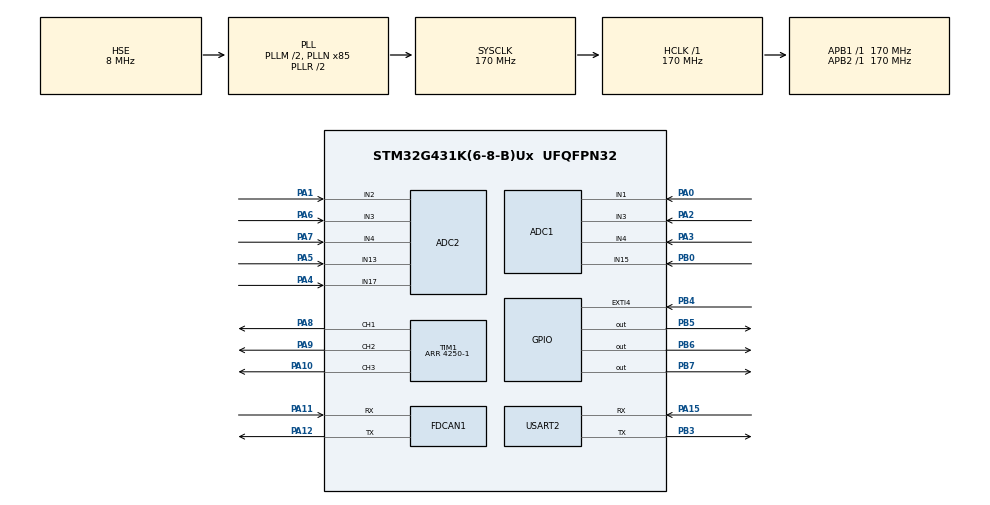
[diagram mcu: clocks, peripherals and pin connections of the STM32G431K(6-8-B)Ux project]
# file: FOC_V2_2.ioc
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ADC1.Channel-0\#ChannelRegularConversion=ADC_CHANNEL_1
ADC1.Channel-1\#ChannelRegularConversion=ADC_CHANNEL_3
ADC1.Channel-2\#ChannelRegularConversion=ADC_CHANNEL_4
ADC1.Channel-3\#ChannelRegularConversion=ADC_CHANNEL_15
ADC1.NbrOfConversion=4
ADC1.NbrOfConversionFlag=1
ADC1.OffsetNumber-0\#ChannelRegularConversion=ADC_OFFSET_NONE
ADC1.OffsetNumber-1\#ChannelRegularConversion=ADC_OFFSET_NONE
ADC1.OffsetNumber-2\#ChannelRegularConversion=ADC_OFFSET_NONE
ADC1.OffsetNumber-3\#ChannelRegularConversion=ADC_OFFSET_NONE
ADC1.Rank-0\#ChannelRegularConversion=1
ADC1.Rank-1\#ChannelRegularConversion=2
ADC1.Rank-2\#ChannelRegularConversion=3
ADC1.Rank-3\#ChannelRegularConversion=4
ADC1.SamplingTime-0\#ChannelRegularConversion=ADC_SAMPLETIME_2CYCLES_5
ADC1.SamplingTime-1\#ChannelRegularConversion=ADC_SAMPLETIME_2CYCLES_5
ADC1.SamplingTime-2\#ChannelRegularConversion=ADC_SAMPLETIME_2CYCLES_5
ADC1.SamplingTime-3\#ChannelRegularConversion=ADC_SAMPLETIME_2CYCLES_5
ADC1.master=1
ADC2.Channel-0\#ChannelRegularConversion=ADC_CHANNEL_2
ADC2.Channel-1\#ChannelRegularConversion=ADC_CHANNEL_3
ADC2.Channel-2\#ChannelRegularConversion=ADC_CHANNEL_4
ADC2.Channel-3\#ChannelRegularConversion=ADC_CHANNEL_13
ADC2.Channel-4\#ChannelRegularConversion=ADC_CHANNEL_17
ADC2.NbrOfConversion=5
ADC2.NbrOfConversionFlag=1
ADC2.OffsetNumber-0\#ChannelRegularConversion=ADC_OFFSET_NONE
ADC2.OffsetNumber-1\#ChannelRegularConversion=ADC_OFFSET_NONE
ADC2.OffsetNumber-2\#ChannelRegularConversion=ADC_OFFSET_NONE
ADC2.OffsetNumber-3\#ChannelRegularConversion=ADC_OFFSET_NONE
ADC2.OffsetNumber-4\#ChannelRegularConversion=ADC_OFFSET_NONE
ADC2.Rank-0\#ChannelRegularConversion=1
ADC2.Rank-1\#ChannelRegularConversion=2
ADC2.Rank-2\#ChannelRegularConversion=3
ADC2.Rank-3\#ChannelRegularConversion=4
ADC2.Rank-4\#ChannelRegularConversion=5
ADC2.SamplingTime-0\#ChannelRegularConversion=ADC_SAMPLETIME_2CYCLES_5
ADC2.SamplingTime-1\#ChannelRegularConversion=ADC_SAMPLETIME_2CYCLES_5
ADC2.SamplingTime-2\#ChannelRegularConversion=ADC_SAMPLETIME_2CYCLES_5
ADC2.SamplingTime-3\#ChannelRegularConversion=ADC_SAMPLETIME_2CYCLES_5
ADC2.SamplingTime-4\#ChannelRegularConversion=ADC_SAMPLETIME_2CYCLES_5
Dma.ADC1.0.Direction=DMA_PERIPH_TO_MEMORY
Dma.ADC1.0.EventEnable=DISABLE
Dma.ADC1.0.Instance=DMA1_Channel1
Dma.ADC1.0.MemDataAlignment=DMA_MDATAALIGN_HALFWORD
Dma.ADC1.0.MemInc=DMA_MINC_ENABLE
Dma.ADC1.0.Mode=DMA_NORMAL
Dma.ADC1.0.PeriphDataAlignment=DMA_PDATAALIGN_HALFWORD
Dma.ADC1.0.PeriphInc=DMA_PINC_DISABLE
Dma.ADC1.0.Polarity=HAL_DMAMUX_REQ_GEN_RISING
Dma.ADC1.0.Priority=DMA_PRIORITY_LOW
Dma.ADC1.0.RequestNumber=1
Dma.ADC1.0.SignalID=NONE
Dma.ADC1.0.SyncEnable=DISABLE
Dma.ADC1.0.SyncPolarity=HAL_DMAMUX_SYNC_NO_EVENT
Dma.ADC1.0.SyncRequestNumber=1
Dma.ADC1.0.SyncSignalID=NONE
Dma.ADC2.1.Direction=DMA_PERIPH_TO_MEMORY
Dma.ADC2.1.EventEnable=DISABLE
Dma.ADC2.1.Instance=DMA1_Channel2
Dma.ADC2.1.MemDataAlignment=DMA_MDATAALIGN_HALFWORD
Dma.ADC2.1.MemInc=DMA_MINC_ENABLE
Dma.ADC2.1.Mode=DMA_NORMAL
Dma.ADC2.1.PeriphDataAlignment=DMA_PDATAALIGN_HALFWORD
Dma.ADC2.1.PeriphInc=DMA_PINC_DISABLE
Dma.ADC2.1.Polarity=HAL_DMAMUX_REQ_GEN_RISING
Dma.ADC2.1.Priority=DMA_PRIORITY_LOW
Dma.ADC2.1.RequestNumber=1
Dma.ADC2.1.SignalID=NONE
Dma.ADC2.1.SyncEnable=DISABLE
Dma.ADC2.1.SyncPolarity=HAL_DMAMUX_SYNC_NO_EVENT
Dma.ADC2.1.SyncRequestNumber=1
Dma.ADC2.1.SyncSignalID=NONE
Dma.Request0=ADC1
Dma.Request1=ADC2
Dma.Request2=USART2_RX
Dma.USART2_RX.2.Direction=DMA_PERIPH_TO_MEMORY
Dma.USART2_RX.2.EventEnable=DISABLE
Dma.USART2_RX.2.Instance=DMA1_Channel3
Dma.USART2_RX.2.MemDataAlignment=DMA_MDATAALIGN_BYTE
Dma.USART2_RX.2.MemInc=DMA_MINC_ENABLE
Dma.USART2_RX.2.Mode=DMA_NORMAL
Dma.USART2_RX.2.PeriphDataAlignment=DMA_PDATAALIGN_BYTE
Dma.USART2_RX.2.PeriphInc=DMA_PINC_DISABLE
Dma.USART2_RX.2.Polarity=HAL_DMAMUX_REQ_GEN_RISING
Dma.USART2_RX.2.Priority=DMA_PRIORITY_LOW
Dma.USART2_RX.2.RequestNumber=1
Dma.USART2_RX.2.SignalID=NONE
Dma.USART2_RX.2.SyncEnable=DISABLE
Dma.USART2_RX.2.SyncPolarity=HAL_DMAMUX_SYNC_NO_EVENT
Dma.USART2_RX.2.SyncRequestNumber=1
Dma.USART2_RX.2.SyncSignalID=NONE
FDCAN1.AutoRetransmission=ENABLE
FDCAN1.CalculateBaudRateNominal=1000000
FDCAN1.CalculateTimeBitNominal=1000
FDCAN1.CalculateTimeQuantumNominal=100.0
FDCAN1.DataPrescaler=1
FDCAN1.DataSyncJumpWidth=4
FDCAN1.DataTimeSeg1=5
FDCAN1.DataTimeSeg2=4
FDCAN1.FrameFormat=FDCAN_FRAME_FD_NO_BRS
FDCAN1.NominalPrescaler=17
FDCAN1.NominalSyncJumpWidth=4
FDCAN1.NominalTimeSeg1=5
FDCAN1.NominalTimeSeg2=4
FDCAN1.StdFiltersNbr=2
FDCAN1.TransmitPause=ENABLE
Mcu.Family=STM32G4
Mcu.Name=STM32G431K(6-8-B)Ux
Mcu.Package=UFQFPN32
NVIC.DMA1_Channel1_IRQn=true\:0\:0\:false\:false\:true\:false\:true\:true
NVIC.DMA1_Channel2_IRQn=true\:0\:0\:false\:false\:true\:false\:true\:true
NVIC.DMA1_Channel3_IRQn=true\:0\:0\:false\:false\:true\:false\:true\:true
NVIC.PriorityGroup=NVIC_PRIORITYGROUP_4
NVIC.TIM1_UP_TIM16_IRQn=true\:0\:0\:false\:false\:true\:true\:true\:true
NVIC.TIM2_IRQn=true\:0\:0\:false\:false\:true\:true\:true\:true
NVIC.TIM6_DAC_IRQn=true\:0\:0\:false\:false\:true\:true\:true\:true
NVIC.TIM7_IRQn=true\:0\:0\:false\:false\:true\:true\:true\:true
NVIC.TIM8_UP_IRQn=true\:15\:0\:false\:false\:true\:false\:true\:true
NVIC.TimeBase=TIM8_UP_IRQn
NVIC.TimeBaseIP=TIM8
NVIC.USART2_IRQn=true\:0\:0\:false\:false\:true\:true\:true\:true
PA0.Mode=IN1-Single-Ended
PA0.Signal=ADC1_IN1
PA1.Mode=IN2-Single-Ended
PA1.Signal=ADC2_IN2
PA10.Signal=S_TIM1_CH3
PA11.Mode=FDCAN_Activate
PA11.Signal=FDCAN1_RX
PA12.Mode=FDCAN_Activate
PA12.Signal=FDCAN1_TX
PA13.Mode=Serial_Wire
PA13.Signal=SYS_JTMS-SWDIO
PA14.Mode=Serial_Wire
PA14.Signal=SYS_JTCK-SWCLK
PA15.Mode=Asynchronous
PA15.Signal=USART2_RX
PA2.Mode=IN3-Single-Ended
PA2.Signal=ADC1_IN3
PA3.Mode=IN4-Single-Ended
PA3.Signal=ADC1_IN4
PA4.Mode=IN17-Single-Ended
PA4.Signal=ADC2_IN17
PA5.Mode=IN13-Single-Ended
PA5.Signal=ADC2_IN13
PA6.Mode=IN3-Single-Ended
PA6.Signal=ADC2_IN3
PA7.Mode=IN4-Single-Ended
PA7.Signal=ADC2_IN4
PA8.Signal=S_TIM1_CH1
PA9.Signal=S_TIM1_CH2
PB0.Mode=IN15-Single-Ended
PB0.Signal=ADC1_IN15
PB3.Mode=Asynchronous
PB3.Signal=USART2_TX
PB4.Signal=GPXTI4
PB5.Signal=GPIO_Output
PB6.Signal=GPIO_Output
PB7.Signal=GPIO_Output
PF0-OSC_IN.Mode=HSE-External-Oscillator
PF0-OSC_IN.Signal=RCC_OSC_IN
PF1-OSC_OUT.Mode=HSE-External-Oscillator
PF1-OSC_OUT.Signal=RCC_OSC_OUT
ProjectManager.HeapSize=0x200
ProjectManager.StackSize=0x400
ProjectManager.TargetToolchain=MDK-ARM V5.32
RCC.ADC12Freq_Value=170000000
RCC.AHBFreq_Value=170000000
RCC.APB1Freq_Value=170000000
RCC.APB1TimFreq_Value=170000000
RCC.APB2Freq_Value=170000000
RCC.APB2TimFreq_Value=170000000
RCC.CortexFreq_Value=170000000
RCC.EXTERNAL_CLOCK_VALUE=12288000
RCC.HCLKFreq_Value=170000000
RCC.HSE_VALUE=8000000
RCC.HSI48_VALUE=48000000
RCC.HSI_VALUE=16000000
RCC.LSE_VALUE=32768
RCC.PLLM=RCC_PLLM_DIV2
RCC.PLLN=85
RCC.PLLSourceVirtual=RCC_PLLSOURCE_HSE
RCC.SYSCLKFreq_VALUE=170000000
RCC.SYSCLKSource=RCC_SYSCLKSOURCE_PLLCLK
RCC.USBFreq_Value=170000000
RCC.VCOOutputFreq_Value=340000000
SH.S_TIM1_CH1.0=TIM1_CH1,PWM Generation1 CH1
SH.S_TIM1_CH2.0=TIM1_CH2,PWM Generation2 CH2
SH.S_TIM1_CH3.0=TIM1_CH3,PWM Generation3 CH3
TIM1.Channel-PWM\ Generation1\ CH1=TIM_CHANNEL_1
TIM1.Channel-PWM\ Generation2\ CH2=TIM_CHANNEL_2
TIM1.Channel-PWM\ Generation3\ CH3=TIM_CHANNEL_3
TIM1.CounterMode=TIM_COUNTERMODE_CENTERALIGNED1
TIM1.OCFastMode_PWM-PWM\ Generation1\ CH1=TIM_OCFAST_ENABLE
TIM1.OCFastMode_PWM-PWM\ Generation2\ CH2=TIM_OCFAST_ENABLE
TIM1.OCFastMode_PWM-PWM\ Generation3\ CH3=TIM_OCFAST_ENABLE
TIM1.PeriodNoDither=4250-1
TIM2.PeriodNoDither=200-1
TIM2.Prescaler=170-1
TIM6.PeriodNoDither=50-1
TIM6.Prescaler=170-1
TIM7.PeriodNoDither=1000-1
TIM7.Prescaler=170-1
USART2.VirtualMode-Asynchronous=VM_ASYNC
VP_SYS_VS_DBSignals.Mode=DisableDeadBatterySignals
VP_SYS_VS_tim8.Mode=TIM8
VP_TIM1_VS_ClockSourceINT.Mode=Internal
VP_TIM2_VS_ClockSourceINT.Mode=Internal
VP_TIM6_VS_ClockSourceINT.Mode=Enable_Timer
VP_TIM7_VS_ClockSourceINT.Mode=Enable_Timer
board=custom

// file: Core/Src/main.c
/* USER CODE BEGIN Header */
/**
  ******************************************************************************
  * @file           : main.c
  * @brief          : Main program body
  ******************************************************************************
  * @attention
  *
  * Copyright (c) 2023 STMicroelectronics.
  * All rights reserved.
  *
  * This software is licensed under terms that can be found in the LICENSE file
  * in the root directory of this software component.
  * If no LICENSE file comes with this software, it is provided AS-IS.
  *
  ******************************************************************************
  */
/* USER CODE END Header */
#include "main.h"
#include "adc.h"
#include "dma.h"
#include "fdcan.h"
#include "tim.h"
#include "usart.h"
#include "gpio.h"

/* USER CODE BEGIN Includes */
#include "FOC.h"
#include "PID.h"
#include "Bsp_ADC.h"
#include "Bsp_CAN.h"
#include "Init_Task.h"
#include "Medium_Freq_Task.h"
#include "Safety_Task.h"
#include "High_Freq_FOC_Task.h"
/* USER CODE END Includes */

/* USER CODE BEGIN PV */
extern FOC_Typedef_t FOC;
extern Sensor_Msg_Typedef_t Sensor_Msg;
extern bool_t cali_flag;
extern uint8_t error_number;
extern PID_Typedef_t PID_Speed_Loop;
/* USER CODE END PV */

void SystemClock_Config(void);

int main(void)
{

  /* MCU Configuration--------------------------------------------------------*/

  /* Reset of all peripherals, Initializes the Flash interface and the Systick. */
  HAL_Init();

  /* Configure the system clock */
  SystemClock_Config();

  /* Initialize all configured peripherals */
  MX_GPIO_Init();
  MX_DMA_Init();
  MX_ADC1_Init();
  MX_ADC2_Init();
  MX_USART2_UART_Init();
  MX_FDCAN1_Init();
  MX_TIM1_Init();
  MX_TIM6_Init();
  MX_TIM7_Init();
  MX_TIM2_Init();
  /* USER CODE BEGIN 2 */
  ADC_Init();
  TIM_Init();
  Vbus_Voltage_Get_Init(&Sensor_Msg);
  Drive_Init();
  Init_Params(&FOC, &Sensor_Msg);
  PID_All_Init();
  FDCAN_Filter();
  Calibration_Motor(&FOC, &Sensor_Msg);
  /* USER CODE END 2 */

  /* Infinite loop */
  while (1)
  {

  }
}

void SystemClock_Config(void)
{
  RCC_OscInitTypeDef RCC_OscInitStruct = {0};
  RCC_ClkInitTypeDef RCC_ClkInitStruct = {0};

  /** Configure the main internal regulator output voltage
  */
  HAL_PWREx_ControlVoltageScaling(PWR_REGULATOR_VOLTAGE_SCALE1_BOOST);

  /** Initializes the RCC Oscillators according to the specified parameters
  * in the RCC_OscInitTypeDef structure.
  */
  RCC_OscInitStruct.OscillatorType = RCC_OSCILLATORTYPE_HSE;
  RCC_OscInitStruct.HSEState = RCC_HSE_ON;
  RCC_OscInitStruct.PLL.PLLState = RCC_PLL_ON;
  RCC_OscInitStruct.PLL.PLLSource = RCC_PLLSOURCE_HSE;
  RCC_OscInitStruct.PLL.PLLM = RCC_PLLM_DIV2;
  RCC_OscInitStruct.PLL.PLLN = 85;
  RCC_OscInitStruct.PLL.PLLP = RCC_PLLP_DIV2;
  RCC_OscInitStruct.PLL.PLLQ = RCC_PLLQ_DIV2;
  RCC_OscInitStruct.PLL.PLLR = RCC_PLLR_DIV2;
  if (HAL_RCC_OscConfig(&RCC_OscInitStruct) != HAL_OK)
  {
    Error_Handler();
  }

  /** Initializes the CPU, AHB and APB buses clocks
  */
  RCC_ClkInitStruct.ClockType = RCC_CLOCKTYPE_HCLK|RCC_CLOCKTYPE_SYSCLK
                              |RCC_CLOCKTYPE_PCLK1|RCC_CLOCKTYPE_PCLK2;
  RCC_ClkInitStruct.SYSCLKSource = RCC_SYSCLKSOURCE_PLLCLK;
  RCC_ClkInitStruct.AHBCLKDivider = RCC_SYSCLK_DIV1;
  RCC_ClkInitStruct.APB1CLKDivider = RCC_HCLK_DIV1;
  RCC_ClkInitStruct.APB2CLKDivider = RCC_HCLK_DIV1;

  if (HAL_RCC_ClockConfig(&RCC_ClkInitStruct, FLASH_LATENCY_4) != HAL_OK)
  {
    Error_Handler();
  }
}

/* USER CODE BEGIN 4 */

/**
 * @brief	  ADC 回调函数，ADC采样得出的原始数据处理在此处运行
 * @note    This function is called when TIM6 interrupt took place, inside
 * TIM6_DAC_IRQHandler(). It makes a direct call to Sensor_Message_Get_ADC()
 * to get hall sensor raw value, phase current raw value, motor temperature
 * raw value, vbus raw value.
 * @param   hadc: ADC handle
 * @retval  None
 */
void HAL_ADC_ConvCpltCallback(ADC_HandleTypeDef* hadc)
{
  if(hadc->Instance == ADC1)
      Sensor_Message_Get_ADC1();
  else if(hadc->Instance == ADC2)
      Sensor_Message_Get_ADC2();
  if(cali_flag == TRUE)
  {
    High_Freq_FOC();
  }
}

/* USER CODE END 4 */

void HAL_TIM_PeriodElapsedCallback(TIM_HandleTypeDef *htim)
{
  if (htim->Instance == TIM8) {
    HAL_IncTick();
  }
  /* USER CODE BEGIN Callback 1 */
  if(htim->Instance == TIM7) {    /* 中频任务1khz */
    if(cali_flag == TRUE && error_number == NO_ERROR) {
      Process_Motor_Angle(&Sensor_Msg);
      Speed_Calc(&Sensor_Msg);
      Medium_Freq_State_Mechine();
      LED_State(error_number);
    }
  }
  if(htim->Instance == TIM2) {   /* 安全任务5khz */
    Safety_Protection(&FOC, &Sensor_Msg);
    FDCAN_cmd(&hfdcan1, &Sensor_Msg.series_ecd, &Sensor_Msg.speed_rpm, &PID_Speed_Loop.out,&Sensor_Msg.Celsius,error_number);
  }
  /* USER CODE END Callback 1 */
}

void Error_Handler(void)
{
  __disable_irq();
  while (1)
  {
  }
}
